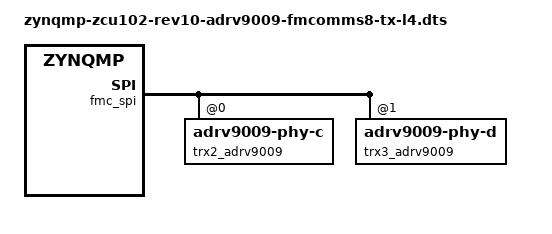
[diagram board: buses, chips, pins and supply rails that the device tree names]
// SPDX-License-Identifier: GPL-2.0
/*
 * Analog Devices AD-FMCOMMS8-EBZ (JESD204 FSM variant)
 * https://wiki.analog.com/resources/eval/user-guides/ad-fmcomms8-ebz
 * https://wiki.analog.com/resources/tools-software/linux-drivers/iio-transceiver/adrv9009
 * https://wiki.analog.com/resources/tools-software/linux-software/adrv9009_advanced_plugin
 *
 * hdl_project: <fmcomms8/zcu102>
 * board_revision: <>
 *
 * Copyright (C) 2022 Analog Devices Inc.
 */

#include "zynqmp-zcu102-rev10-adrv9009-fmcomms8-jesd204-fsm.dts"

&fmc_spi {
	trx2_adrv9009: adrv9009-phy-c@0 {
		/* JESD204 */

		/* JESD204 OBS */
		adi,jesd204-framer-b-m = <4>;

		/* JESD204 TX */
		adi,jesd204-deframer-a-deserializer-lanes-enabled = <0x03>;
	};
	trx3_adrv9009: adrv9009-phy-d@1 {
		/* JESD204 */

		/* JESD204 OBS */
		adi,jesd204-framer-b-m = <4>;

		/* JESD204 TX */
		adi,jesd204-deframer-a-deserializer-lanes-enabled = <0x03>;
	};
};
